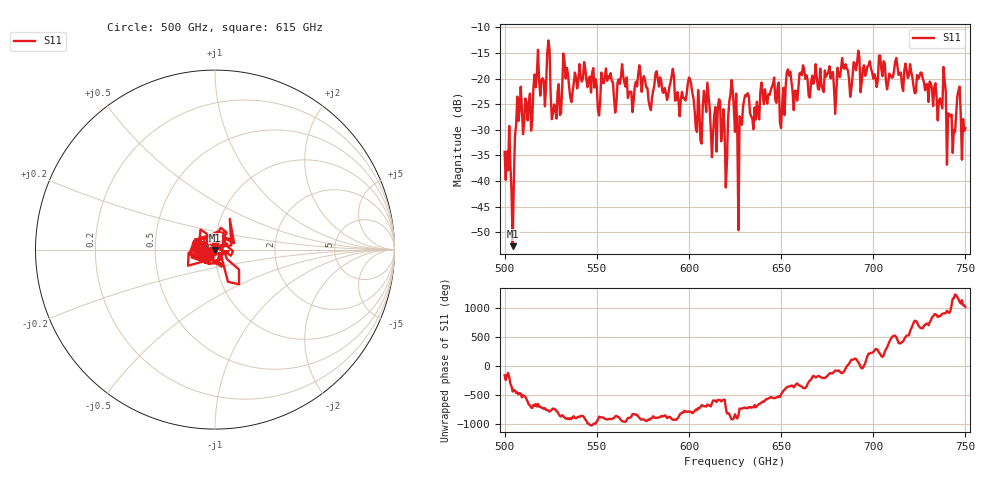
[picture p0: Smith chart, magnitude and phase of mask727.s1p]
!Created with skrf (http://scikit-rf.org).
# GHz S MA R 50.0
!freq magS11 angS11
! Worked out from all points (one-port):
!   401 points, 500 GHz to 750 GHz, reference 50 ohm
!   lowest |S11| = -52.7 dB at 504.4 GHz (marker M1), VSWR 1.00, Z = 50 - j0.23 ohm
!   |S11| at or under -10 dB: start of sweep to end of sweep
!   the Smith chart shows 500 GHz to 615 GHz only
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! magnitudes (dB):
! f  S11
! 500 GHz  -34.3
! 504.4 GHz  -52.7
! 508.1 GHz  -26.3
! 513.8 GHz  -22.9
! 516.9 GHz  -21.7
! 523.8 GHz  -12.6
! 526.9 GHz  -25.1
! 531.2 GHz  -21.7
! 562.5 GHz  -21.1
! 579.4 GHz  -26.2
! 590.6 GHz  -19.5
! 593.8 GHz  -22.6
! 600.6 GHz  -20.1
! 605.6 GHz  -25.7
! 609.4 GHz  -26.5
! 619.4 GHz  -30.5
! 622.5 GHz  -23.2
! 625 GHz  -30.4
! 625.6 GHz  -22.9
! 627.5 GHz  -27.4
! 631.2 GHz  -23.4
! 635 GHz  -29.9
! 656.2 GHz  -22.6
! 687.5 GHz  -23.6
! 691.2 GHz  -16.9
! 718.8 GHz  -19.9
! 746.2 GHz  -22.3
! 750 GHz  -29.7
